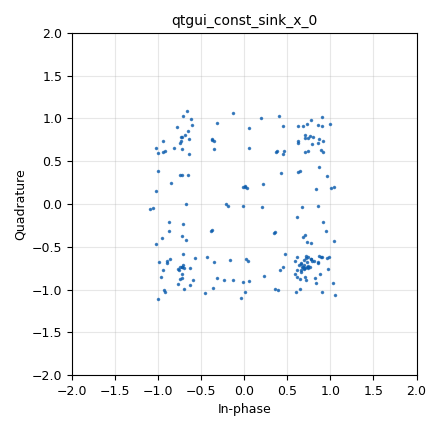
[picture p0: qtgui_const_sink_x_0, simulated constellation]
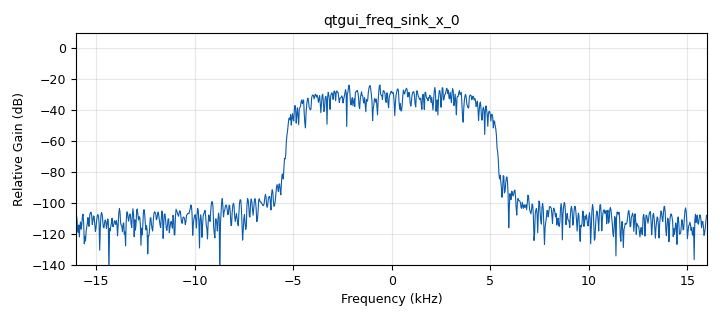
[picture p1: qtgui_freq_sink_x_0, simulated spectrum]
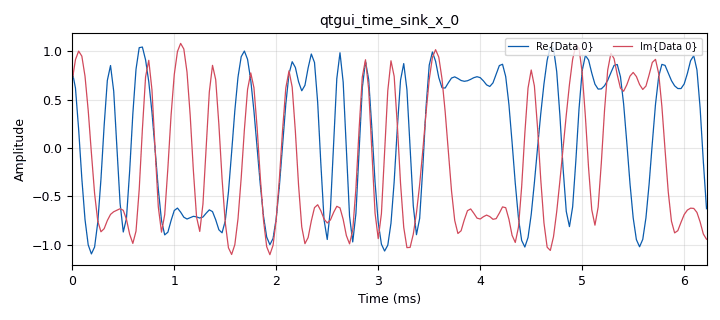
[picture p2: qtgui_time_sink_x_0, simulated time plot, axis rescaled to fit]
options:
  parameters:
    generate_options: qt_gui
    id: Qpsk_stage1_modulator
    output_language: python
    title: Qpsk_stage1_modulator
  states: {}

blocks:
- name: excess_bw
  id: variable
  parameters:
    value: '350e-3'
  states: {}
- name: qpsk
  id: variable_constellation_rect
  parameters:
    const_points: '[-1-1j, -1+1j, 1+1j, 1-1j]'
    imag_sect: '2'
    real_sect: '2'
    rot_sym: '4'
    sym_map: '[0, 1, 3, 2]'
    w_imag_sect: '1'
    w_real_sect: '1'
  states: {}
- name: qpsk1
  id: variable_constellation
  parameters:
    precision: '8'
    type: qpsk
  states: {}
- name: samp_rate
  id: variable
  parameters:
    value: '32000'
  states: {}
- name: sps
  id: variable
  parameters:
    value: '4'
  states: {}
- name: analog_random_source_x_0
  id: analog_random_source_x
  parameters:
    max: '256'
    min: '0'
    num_samps: '1000'
    repeat: 'True'
    type: byte
  states: {}
- name: blocks_throttle2_0
  id: blocks_throttle2
  parameters:
    samples_per_second: samp_rate
    type: complex
  states: {}
- name: digital_constellation_modulator_0
  id: digital_constellation_modulator
  parameters:
    constellation: qpsk
    differential: 'True'
    excess_bw: excess_bw
    samples_per_symbol: sps
  states: {}
- name: qtgui_const_sink_x_0
  id: qtgui_const_sink_x
  parameters:
    size: '200'
    type: complex
  states: {}
- name: qtgui_freq_sink_x_0
  id: qtgui_freq_sink_x
  parameters:
    bw: samp_rate
    fc: '0'
    fftsize: '1024'
    type: complex
  states: {}
- name: qtgui_time_sink_x_0
  id: qtgui_time_sink_x
  parameters:
    size: '200'
    srate: samp_rate
    type: complex
  states: {}

connections:
- [analog_random_source_x_0, '0', digital_constellation_modulator_0, '0']
- [blocks_throttle2_0, '0', qtgui_const_sink_x_0, '0']
- [blocks_throttle2_0, '0', qtgui_freq_sink_x_0, '0']
- [blocks_throttle2_0, '0', qtgui_time_sink_x_0, '0']
- [digital_constellation_modulator_0, '0', blocks_throttle2_0, '0']

metadata:
  file_format: 1
  grc_version: 3.10.11.0
